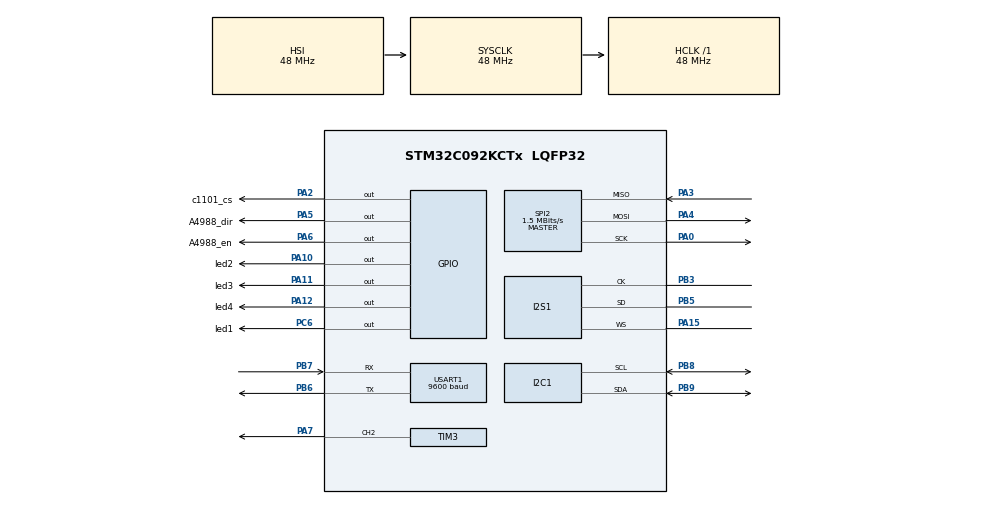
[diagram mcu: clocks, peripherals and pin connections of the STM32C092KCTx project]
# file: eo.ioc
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I2C1.Timing=0x10805D88
I2S1.ErrorAudioFreq=-0.27 %
I2S1.DataFormat=I2S_DATAFORMAT_24B
I2S1.FullDuplexMode=I2S_FULLDUPLEXMODE_DISABLE
I2S1.Instance=SPI$Index
I2S1.RealAudioFreq=7.978 KHz
I2S1.VirtualMode=I2S_MODE_MASTER_RX
Mcu.Family=STM32C0
Mcu.Name=STM32C092KCTx
Mcu.Package=LQFP32
NVIC.I2C1_IRQn=true\:0\:0\:false\:false\:true\:true\:true\:true
PA0.GPIO_PuPd=GPIO_NOPULL
PA0.GPIO_Speed=GPIO_SPEED_FREQ_VERY_HIGH
PA0.Mode=Full_Duplex_Master
PA0.PinState=GPIO_PIN_SET
PA0.Signal=SPI2_SCK
PA10.GPIO_Label=led2
PA10.Signal=GPIO_Output
PA11\ [PA9].GPIO_Label=led3
PA11\ [PA9].Signal=GPIO_Output
PA12\ [PA10].GPIO_Label=led4
PA12\ [PA10].Signal=GPIO_Output
PA13.Mode=Serial_Wire
PA13.Signal=DEBUG_SWDIO
PA14-BOOT0.Mode=Serial_Wire
PA14-BOOT0.Signal=DEBUG_SWCLK
PA15.Mode=Half_Duplex_Master
PA15.Signal=I2S1_WS
PA2.GPIO_Label=c1101_cs
PA2.Signal=GPIO_Output
PA3.GPIO_PuPd=GPIO_NOPULL
PA3.GPIO_Speed=GPIO_SPEED_FREQ_VERY_HIGH
PA3.Mode=Full_Duplex_Master
PA3.PinState=GPIO_PIN_SET
PA3.Signal=SPI2_MISO
PA4.GPIO_PuPd=GPIO_NOPULL
PA4.GPIO_Speed=GPIO_SPEED_FREQ_VERY_HIGH
PA4.Mode=Full_Duplex_Master
PA4.PinState=GPIO_PIN_SET
PA4.Signal=SPI2_MOSI
PA5.GPIO_Label=A4988_dir
PA5.Signal=GPIO_Output
PA6.GPIO_Label=A4988_en
PA6.Signal=GPIO_Output
PA7.Signal=S_TIM3_CH2
PB0.Signal=FDCAN1_RX
PB1.Signal=FDCAN1_TX
PB3.Mode=Half_Duplex_Master
PB3.Signal=I2S1_CK
PB5.Mode=Half_Duplex_Master
PB5.Signal=I2S1_SD
PB6.Mode=Asynchronous
PB6.Signal=USART1_TX
PB7.Mode=Asynchronous
PB7.Signal=USART1_RX
PB8.Mode=I2C
PB8.Signal=I2C1_SCL
PB9.Mode=I2C
PB9.Signal=I2C1_SDA
PC6.GPIO_Label=led1
PC6.Signal=GPIO_Output
ProjectManager.HeapSize=0x200
ProjectManager.StackSize=0x400
ProjectManager.TargetToolchain=STM32CubeIDE
RCC.ADCFreq_Value=48000000
RCC.AHBFreq_Value=48000000
RCC.CortexFreq_Value=48000000
RCC.EXTERNAL_CLOCK_VALUE=12288000
RCC.HCLKFreq_Value=48000000
RCC.HSE_VALUE=8000000
RCC.HSISYSCLKDivider=RCC_HSI_DIV1
RCC.HSI_VALUE=48000000
RCC.LSE_VALUE=32768
RCC.SYSCLKFreq_VALUE=48000000
SH.S_TIM3_CH2.0=TIM3_CH2,PWM Generation2 CH2
SPI2.BaudRatePrescaler=SPI_BAUDRATEPRESCALER_32
SPI2.CalculateBaudRate=1.5 MBits/s
SPI2.DataSize=SPI_DATASIZE_8BIT
SPI2.Direction=SPI_DIRECTION_2LINES
SPI2.Mode=SPI_MODE_MASTER
SPI2.VirtualType=VM_MASTER
TIM3.Channel-PWM\ Generation2\ CH2=TIM_CHANNEL_2
USART1.BaudRate=9600
USART1.VirtualMode-Asynchronous=VM_ASYNC
VP_TIM3_VS_ClockSourceINT.Mode=Internal
board=custom

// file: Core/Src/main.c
/* USER CODE BEGIN Header */
/**
  ******************************************************************************
  * @file           : main.c
  * @brief          : Main program body
  ******************************************************************************
  * @attention
  *
  * Copyright (c) 2026 STMicroelectronics.
  * All rights reserved.
  *
  * This software is licensed under terms that can be found in the LICENSE file
  * in the root directory of this software component.
  * If no LICENSE file comes with this software, it is provided AS-IS.
  *
  ******************************************************************************
  */
/* USER CODE END Header */
#include "main.h"
#include "i2c.h"
#include "i2s.h"
#include "spi.h"
#include "tim.h"
#include "usart.h"
#include "gpio.h"

/* USER CODE BEGIN Includes */
//#include "camera.h"
#include <string.h>
#include "gy271.h"
#include "stepper.h"
/* USER CODE END Includes */

/* USER CODE BEGIN PD */
#define DEVICE_ID              22u
#define RADIO_DEST_ID          11u
#define RADIO_PACKET_TYPE_TELEM 0x01u
#define RADIO_PACKET_TYPE_ACK   0x03u
#define RADIO_PACKET_TYPE_AUDIO 0x04u
#define RADIO_ACK_TIMEOUT_MS   100u
#define RADIO_MAX_RETRIES      3
#define RADIO_PACKET_TYPE_LOG   0x02u
#define RADIO_TX_INTERVAL_MS   3000u
#define STEPPER_TEST_STEPS     400
#define STEPPER_TEST_TIMEOUT_MS 10000u
#define I2S_TEST_WORDS         128u
#define AUDIO_NUM_SAMPLES      512
#define AUDIO_SAMPLE_RATE      8000
#define AUDIO_PACKET_PAYLOAD_SIZE 56 // 61 (max) - 5 (header)

#define I2S_SOUND_THRESHOLD    1000u

#define LOG_BOOT               0x01u
#define LOG_STEPPER_CW_DONE    0x04u
#define LOG_STEPPER_CCW_DONE   0x05u
#define LOG_STEPPER_TIMEOUT    0x06u
#define LOG_I2S_SOUND_OK       0x07u
#define LOG_I2S_SOUND_LOW      0x08u
#define LOG_I2S_READ_FAIL      0x09u
#define LOG_RADIO_TEST_OK      0x0Au

#define CC1101_IOCFG0          0x02u
#define CC1101_FIFOTHR         0x03u
#define CC1101_PKTLEN          0x06u
#define CC1101_PKTCTRL1        0x07u
#define CC1101_PKTCTRL0        0x08u
#define CC1101_ADDR            0x09u
#define CC1101_CHANNR          0x0Au
#define CC1101_FSCTRL1         0x0Bu
#define CC1101_FREQ2           0x0Du
#define CC1101_FREQ1           0x0Eu
#define CC1101_FREQ0           0x0Fu
#define CC1101_MDMCFG4         0x10u
#define CC1101_MDMCFG3         0x11u
#define CC1101_MDMCFG2         0x12u
#define CC1101_MDMCFG1         0x13u
#define CC1101_MDMCFG0         0x14u
#define CC1101_DEVIATN         0x15u
#define CC1101_MCSM0           0x18u
#define CC1101_FOCCFG          0x19u
#define CC1101_BSCFG           0x1Au
#define CC1101_AGCCTRL2        0x1Bu
#define CC1101_AGCCTRL1        0x1Cu
#define CC1101_AGCCTRL0        0x1Du
#define CC1101_FREND1          0x21u
#define CC1101_FREND0          0x22u
#define CC1101_FSCAL3          0x23u
#define CC1101_FSCAL2          0x24u
#define CC1101_FSCAL1          0x25u
#define CC1101_FSCAL0          0x26u
#define CC1101_TEST2           0x2Cu
#define CC1101_TEST1           0x2Du
#define CC1101_TEST0           0x2Eu
#define CC1101_PATABLE         0x3Eu
#define CC1101_TXFIFO          0x3Fu

// Command Strobes
#define CC1101_SRES            0x30u
#define CC1101_SRX             0x34u
#define CC1101_STX             0x35u
#define CC1101_SIDLE           0x36u
#define CC1101_SFRX            0x3Au
#define CC1101_SFTX            0x3Bu
#define CC1101_WRITE_BURST     0x40u
#define CC1101_READ_SINGLE     0x80u
#define CC1101_READ_BURST      0xC0u

// Status Registers
#define CC1101_PARTNUM         0x30u       // Part number
#define CC1101_VERSION         0x31u       // Current version number
#define CC1101_MARCSTATE       0x35u       // Main Radio Control FSM state

/* USER CODE END PD */
// Status Registers (continued)
#define CC1101_RXBYTES         0x3Bu       // Underflow and number of bytes in RXFIFO
#define CC1101_RXFIFO          0x3Fu

void SystemClock_Config(void);
/* USER CODE BEGIN PFP */
static void DisplayNibble(uint8_t nibble);
static void boot(void);
static uint8_t CC1101_WaitForReady(void);
static void CC1101_Strobe(uint8_t strobe);
static uint8_t CC1101_ReadReg(uint8_t addr);
static void CC1101_WriteReg(uint8_t addr, uint8_t value);
static void CC1101_WriteBurst(uint8_t addr, const uint8_t *data, uint8_t len);
static void CC1101_ReadBurst(uint8_t addr, uint8_t *buffer, uint8_t len);
static void CC1101_InitRadio(void);
static uint8_t Radio_SendReliablePacket(const uint8_t *payload, uint8_t len);
static void Radio_SendAudioChunk(void);
static void Radio_SendTelemetry(void);
static void Radio_SendLog(uint8_t code, int32_t value);
static void Startup_TestStepper(void);
static void Startup_TestI2S(void);
static void Test_CC1101_Connection(void);
static void Startup_TestRadioPacket(void);

/* USER CODE END PFP */

/* USER CODE BEGIN 0 */
/* USER CODE BEGIN 0 */

/* USER CODE END 0 */
/**
  * @brief Displays a 4-bit value (nibble) on the 4 LEDs.
  * @param nibble The 4-bit value to display.
  */
static void DisplayNibble(uint8_t n) {
    HAL_GPIO_WritePin(led1_GPIO_Port, led1_Pin, (GPIO_PinState)(n & 1));
    HAL_GPIO_WritePin(GPIOA, led2_Pin, (GPIO_PinState)((n >> 1) & 1));
    HAL_GPIO_WritePin(GPIOA, led3_Pin, (GPIO_PinState)((n >> 2) & 1));
    HAL_GPIO_WritePin(GPIOA, led4_Pin, (GPIO_PinState)((n >> 3) & 1));
}

static void boot(void) {
    const uint8_t s[] = "\x6F\x6D\x20\x6E\x61\x6D\x61\x68\x20\x73\x68\x69\x76\x61\x79";
    for (int i = 0; i < 45; i++) {
        uint8_t m = i % 3, c = s[i / 3];
        DisplayNibble(m == 2 ? 0 : (m ? c & 15 : c >> 4));
        HAL_Delay(m == 2 ? 20 : 100);
    }
    DisplayNibble(0);
    HAL_Delay(500);
}

/**
 * @brief Waits for the CC1101 MISO line to go low, indicating the chip is ready.
 * @retval 1 if ready, 0 on timeout.
 */
static uint8_t CC1101_WaitForReady(void)
{
    uint32_t tickstart = HAL_GetTick();
    while(HAL_GPIO_ReadPin(GPIOA, GPIO_PIN_3) == GPIO_PIN_SET)
    {
        if ((HAL_GetTick() - tickstart) > 10) // 10ms timeout
        {
            return 0; // Timeout
        }
    }
    return 1; // Ready
}

/**
  * @brief Sends a command strobe to the CC1101.
  * @param strobe The command strobe to send (e.g., 0x30 for SRES).
  */
static void CC1101_Strobe(uint8_t strobe)
{
    // Assert CS
    HAL_GPIO_WritePin(c1101_cs_GPIO_Port, c1101_cs_Pin, GPIO_PIN_RESET);

    if (CC1101_WaitForReady() == 0) {
        HAL_GPIO_WritePin(c1101_cs_GPIO_Port, c1101_cs_Pin, GPIO_PIN_SET);
        return;
    }

    // Transmit strobe command
    HAL_SPI_Transmit(&hspi2, &strobe, 1, 100);

    // De-assert CS
    HAL_GPIO_WritePin(c1101_cs_GPIO_Port, c1101_cs_Pin, GPIO_PIN_SET);
}

static void CC1101_WriteReg(uint8_t addr, uint8_t value)
{
    uint8_t tx[2] = { addr, value };

    HAL_GPIO_WritePin(c1101_cs_GPIO_Port, c1101_cs_Pin, GPIO_PIN_RESET);
    if (CC1101_WaitForReady() == 0) {
        HAL_GPIO_WritePin(c1101_cs_GPIO_Port, c1101_cs_Pin, GPIO_PIN_SET);
        return;
    }
    HAL_SPI_Transmit(&hspi2, tx, 2, 100);
    HAL_GPIO_WritePin(c1101_cs_GPIO_Port, c1101_cs_Pin, GPIO_PIN_SET);
}

static void CC1101_WriteBurst(uint8_t addr, const uint8_t *data, uint8_t len)
{
    uint8_t header = addr | CC1101_WRITE_BURST;

    HAL_GPIO_WritePin(c1101_cs_GPIO_Port, c1101_cs_Pin, GPIO_PIN_RESET);
    if (CC1101_WaitForReady() == 0) {
        HAL_GPIO_WritePin(c1101_cs_GPIO_Port, c1101_cs_Pin, GPIO_PIN_SET);
        return;
    }
    HAL_SPI_Transmit(&hspi2, &header, 1, 100);
    HAL_SPI_Transmit(&hspi2, (uint8_t *)data, len, 100);
    HAL_GPIO_WritePin(c1101_cs_GPIO_Port, c1101_cs_Pin, GPIO_PIN_SET);
}

static void CC1101_ReadBurst(uint8_t addr, uint8_t *buffer, uint8_t len)
{
    uint8_t header = addr | CC1101_READ_BURST;

    HAL_GPIO_WritePin(c1101_cs_GPIO_Port, c1101_cs_Pin, GPIO_PIN_RESET);
    if (CC1101_WaitForReady() == 0) {
        HAL_GPIO_WritePin(c1101_cs_GPIO_Port, c1101_cs_Pin, GPIO_PIN_SET);
        return;
    }
    HAL_SPI_Transmit(&hspi2, &header, 1, 100);
    HAL_SPI_Receive(&hspi2, buffer, len, 100);
    HAL_GPIO_WritePin(c1101_cs_GPIO_Port, c1101_cs_Pin, GPIO_PIN_SET);
}

/**
  * @brief Reads a single register from the CC1101.
  * @param addr The register address (0x00 - 0x3D).
  * @retval The register value.
  */
static uint8_t CC1101_ReadReg(uint8_t addr)
{
    uint8_t tx_data[2] = { addr | CC1101_READ_SINGLE, 0x00 }; // Header, dummy byte
    uint8_t rx_data[2] = { 0 };

    // Assert CS
    HAL_GPIO_WritePin(c1101_cs_GPIO_Port, c1101_cs_Pin, GPIO_PIN_RESET);

    if (CC1101_WaitForReady() == 0) {
        HAL_GPIO_WritePin(c1101_cs_GPIO_Port, c1101_cs_Pin, GPIO_PIN_SET);
        return 0xFF; // Indicate timeout error
    }

    // Transmit header and receive status byte, then transmit dummy and receive register value
    HAL_SPI_TransmitReceive(&hspi2, tx_data, rx_data, 2, 100);

    // De-assert CS
    HAL_GPIO_WritePin(c1101_cs_GPIO_Port, c1101_cs_Pin, GPIO_PIN_SET);

    return rx_data[1]; // Return the register value
}

static void CC1101_InitRadio(void)
{
    static const uint8_t pa_table[] = { 0xC0u }; /* approx. 10 dBm on common CC1101 modules */

    CC1101_Strobe(CC1101_SIDLE);
    CC1101_Strobe(CC1101_SFTX);

    /* 433.92 MHz, GFSK. These settings must match the receiver. */
    // NOTE: The original comment for baud rate was incorrect. The register values below
    // configure the radio for ~153.5 kBaud.
    CC1101_WriteReg(CC1101_FSCTRL1,  0x06u); // IF Freq: 152.34375 kHz
    CC1101_WriteReg(CC1101_FREQ2,    0x10u); // Freq. Control Word, High Byte
    CC1101_WriteReg(CC1101_FREQ1,    0xB0u); // Freq. Control Word, Middle Byte
    CC1101_WriteReg(CC1101_FREQ0,    0x71u); // Freq. Control Word, Low Byte
    CC1101_WriteReg(CC1101_MDMCFG4,  0xCAu); // RX BW: 101.5625 kHz, Data Rate Exponent
    CC1101_WriteReg(CC1101_MDMCFG3,  0x83u); // Data Rate Mantissa (~153.5 kBaud)
    CC1101_WriteReg(CC1101_MDMCFG2,  0x13u); // GFSK, 30/32 sync word bits
    CC1101_WriteReg(CC1101_MDMCFG1,  0x22u); // 4-byte preamble, FEC disabled
    CC1101_WriteReg(CC1101_MDMCFG0,  0xF8u); // Channel spacing: 199.951172 kHz
    CC1101_WriteReg(CC1101_CHANNR,   0x00u); // Channel 0
    CC1101_WriteReg(CC1101_DEVIATN,  0x35u); // Deviation: 19.042969 kHz
    CC1101_WriteReg(CC1101_FREND1,   0x56u); // Front end RX configuration
    CC1101_WriteReg(CC1101_FREND0,   0x10u); // Front end TX configuration
    CC1101_WriteReg(CC1101_MCSM0,    0x18u); // Auto-calibrate on IDLE->RX/TX
    CC1101_WriteReg(CC1101_FOCCFG,   0x16u); // Freq Offset Comp. config
    CC1101_WriteReg(CC1101_BSCFG,    0x6Cu); // Bit Synchronization config
    CC1101_WriteReg(CC1101_AGCCTRL2, 0x43u); // AGC Control
    CC1101_WriteReg(CC1101_AGCCTRL1, 0x40u); // AGC Control
    CC1101_WriteReg(CC1101_AGCCTRL0, 0x91u); // AGC Control
    CC1101_WriteReg(CC1101_FSCAL3,   0xE9u); // Freq. Synthesizer Cal.
    CC1101_WriteReg(CC1101_FSCAL2,   0x2Au); // Freq. Synthesizer Cal.
    CC1101_WriteReg(CC1101_FSCAL1,   0x00u); // Freq. Synthesizer Cal.
    CC1101_WriteReg(CC1101_FSCAL0,   0x1Fu); // Freq. Synthesizer Cal.
    CC1101_WriteReg(CC1101_TEST2,    0x81u); // Required for sensitivity at low data rates
    CC1101_WriteReg(CC1101_TEST1,    0x35u); // Required for sensitivity at low data rates
    CC1101_WriteReg(CC1101_TEST0,    0x09u); // Required for sensitivity at low data rates
    CC1101_WriteReg(CC1101_PKTCTRL1, 0x04u); // No address check, CRC autoflush on
    CC1101_WriteReg(CC1101_PKTCTRL0, 0x05u); // Variable packet length, CRC enabled
    CC1101_WriteReg(CC1101_ADDR,     0x00u); // Device address (not used, PKTCTRL1)
    CC1101_WriteReg(CC1101_PKTLEN,   0xFFu); // Max packet length

    CC1101_WriteBurst(CC1101_PATABLE, pa_table, sizeof(pa_table));
}

static void Radio_TransmitPacket(const uint8_t *payload, uint8_t len)
{
    // This is a low-level, fire-and-forget transmit function.
    uint8_t fifo[62];
    if (len == 0u || len > 61u) { return; }

    fifo[0] = len;
    memcpy(&fifo[1], payload, len);

    CC1101_Strobe(CC1101_SIDLE);
    CC1101_Strobe(CC1101_SFTX);
    CC1101_WriteBurst(CC1101_TXFIFO, fifo, len + 1u);
    CC1101_Strobe(CC1101_STX);

    // Wait for transmission to complete. MARCSTATE will go to IDLE (0x01).
    // Add a timeout to prevent getting stuck.
    uint32_t start_tick = HAL_GetTick();
    while (CC1101_ReadReg(CC1101_MARCSTATE) != 0x01) {
        if (HAL_GetTick() - start_tick > 50) { break; } // 50ms timeout
    }
}

static uint8_t Radio_SendReliablePacket(const uint8_t *payload, uint8_t len)
{
    uint8_t retries = RADIO_MAX_RETRIES;
    while (retries--)
    {
        Radio_TransmitPacket(payload, len);

        // Switch to RX mode to wait for ACK
        CC1101_Strobe(CC1101_SRX);

        uint32_t ack_wait_start = HAL_GetTick();
        while (HAL_GetTick() - ack_wait_start < RADIO_ACK_TIMEOUT_MS)
        {
            // Check if a packet has been received
            if (CC1101_ReadReg(CC1101_RXBYTES) & 0x7F)
            {
                uint8_t rx_buffer[64];
                uint8_t packet_len = CC1101_ReadReg(CC1101_RXFIFO);

                if (packet_len > 0 && packet_len <= 61)
                {
                    // Read packet + 2 status bytes (RSSI, LQI/CRC)
                    CC1101_ReadBurst(CC1101_RXFIFO, rx_buffer, packet_len + 2);

                    // Check CRC status bit
                    if (rx_buffer[packet_len + 1] & 0x80)
                    {
                        // Check if it's an ACK for our packet
                        // ACK format: [DEST_ID, SRC_ID, TYPE_ACK, SEQ_NUM]
                        // Original packet: [DEST_ID, SRC_ID, TYPE, SEQ_NUM, ...]
                        const uint8_t expected_src_id = payload[0]; // The original destination
                        const uint8_t expected_seq = payload[3];    // The original sequence number

                        if (packet_len == 4 &&
                            rx_buffer[0] == DEVICE_ID &&          // Destined for us
                            rx_buffer[1] == expected_src_id &&    // From the intended receiver
                            rx_buffer[2] == RADIO_PACKET_TYPE_ACK && // Is an ACK packet
                            rx_buffer[3] == expected_seq)         // Matches sequence number
                        {
                            CC1101_Strobe(CC1101_SIDLE);
                            CC1101_Strobe(CC1101_SFRX); // Flush RX FIFO
                            return 1; // ACK received, success!
                        }
                    }
                }
                // If not a valid ACK, or bad packet, flush and restart RX
                CC1101_Strobe(CC1101_SIDLE);
                CC1101_Strobe(CC1101_SFRX);
                CC1101_Strobe(CC1101_SRX);
            }
        }
        // ACK not received within timeout, will retry...
    }

    CC1101_Strobe(CC1101_SIDLE); // Go to IDLE after all retries fail
    return 0u; // Return 0 to indicate failure after all retries.
}

static void PutU16(uint8_t *buf, uint8_t *idx, uint16_t value)
{
    buf[(*idx)++] = (uint8_t)(value);
    buf[(*idx)++] = (uint8_t)(value >> 8);
}

static void PutU32(uint8_t *buf, uint8_t *idx, uint32_t value)
{
    buf[(*idx)++] = (uint8_t)(value);
    buf[(*idx)++] = (uint8_t)(value >> 8);
    buf[(*idx)++] = (uint8_t)(value >> 16);
    buf[(*idx)++] = (uint8_t)(value >> 24);
}

static void Radio_SendTelemetry(void)
{
    static uint8_t seq = 0u;
    uint8_t packet[40];
    uint8_t i = 0u;
    int16_t mag_x = 0;
    int16_t mag_y = 0;
    int16_t mag_z = 0;
    uint8_t flags = 0u;

    HMC5883L_ReadXYZ(&mag_x, &mag_y, &mag_z);

    if (Stepper_IsMoving())
    {
        flags |= 0x02u;
    }

    packet[i++] = RADIO_DEST_ID;
    packet[i++] = DEVICE_ID;
    packet[i++] = RADIO_PACKET_TYPE_TELEM;
    packet[i++] = seq++;
    packet[i++] = flags;
    PutU16(packet, &i, (uint16_t)mag_x);
    PutU16(packet, &i, (uint16_t)mag_y);
    PutU16(packet, &i, (uint16_t)mag_z);
    PutU32(packet, &i, (uint32_t)Stepper_GetPosition());

    (void)Radio_SendReliablePacket(packet, i);
}

static void Radio_SendLog(uint8_t code, int32_t value)
{
    static uint8_t log_seq = 0u;
    uint8_t packet[13];
    uint8_t i = 0u;

    packet[i++] = RADIO_DEST_ID;
    packet[i++] = DEVICE_ID;
    packet[i++] = RADIO_PACKET_TYPE_LOG;
    packet[i++] = log_seq++;
    packet[i++] = code;
    PutU32(packet, &i, HAL_GetTick());
    PutU32(packet, &i, (uint32_t)value);

    // Use reliable send for logs
    (void)Radio_SendReliablePacket(packet, i);
}

static void Radio_SendAudioChunk(void)
{
    static uint8_t frame_seq = 0;
    // Buffer to hold raw 24-bit stereo data from I2S
    uint16_t i2s_capture_buf[AUDIO_NUM_SAMPLES * 4]; // Each sample is 2x uint16_t, and we read L+R channels
    // Buffer to hold processed 16-bit mono PCM data
    int16_t pcm_buffer[AUDIO_NUM_SAMPLES];

    // 1. Capture Audio from I2S microphone
    // To get AUDIO_NUM_SAMPLES from one channel, we must read twice that from the interleaved (L/R) stream.
    if (HAL_I2S_Receive(&hi2s1, i2s_capture_buf, AUDIO_NUM_SAMPLES * 2, 1000) != HAL_OK)
    {
        return; // Failed to capture audio
    }

    // 2. Process raw data into 16-bit mono PCM
    for (uint32_t i = 0; i < AUDIO_NUM_SAMPLES; i++)
    {
        // Reconstruct the 24-bit signed sample from the left channel (at index i*4).
        int32_t sample32 = (int32_t)((i2s_capture_buf[i * 4] << 16) | i2s_capture_buf[i * 4 + 1]);
        // The data is 24-bit, so shift right by 8 to sign-extend it properly in the 32-bit container.
        sample32 >>= 8;
        // Convert to 16-bit by taking the most significant bits.
        pcm_buffer[i] = (int16_t)(sample32 >> 8);
    }

    // 3. Packetize and transmit the audio data
    uint16_t bytes_sent = 0;
    uint8_t packet_seq = 0;
    const uint16_t total_bytes = AUDIO_NUM_SAMPLES * sizeof(int16_t);

    while (bytes_sent < total_bytes)
    {
        uint8_t packet[61];
        uint8_t i = 0;

        uint8_t chunk_size = AUDIO_PACKET_PAYLOAD_SIZE;
        if (bytes_sent + chunk_size > total_bytes)
        {
            chunk_size = total_bytes - bytes_sent;
            // Set MSB of packet_seq to indicate the final packet of the frame
            packet_seq |= 0x80;
        }

        packet[i++] = RADIO_DEST_ID;
        packet[i++] = DEVICE_ID;
        packet[i++] = RADIO_PACKET_TYPE_AUDIO;
        packet[i++] = frame_seq;
        packet[i++] = packet_seq;
        memcpy(&packet[i], (uint8_t*)pcm_buffer + bytes_sent, chunk_size);

        Radio_TransmitPacket(packet, i + chunk_size);

        bytes_sent += chunk_size;
        packet_seq = (packet_seq & 0x7F) + 1; // Increment sequence, keeping MSB clear
    }
    frame_seq++;
}

static uint8_t Stepper_WaitUntilStopped(uint32_t timeout_ms)
{
    uint32_t start = HAL_GetTick();

    while (Stepper_IsMoving())
    {
        if ((HAL_GetTick() - start) >= timeout_ms)
        {
            Stepper_Stop();
            return 0u;
        }
    }

    return 1u;
}

static void Startup_TestStepper(void)
{
    Stepper_SetSpeed(400);
    Stepper_Enable();

    Stepper_SetDirection(GPIO_PIN_SET);
    Stepper_MoveTo(Stepper_GetPosition() + STEPPER_TEST_STEPS);
    if (Stepper_WaitUntilStopped(STEPPER_TEST_TIMEOUT_MS))
    {
        Radio_SendLog(LOG_STEPPER_CW_DONE, Stepper_GetPosition());
    }
    else
    {
        Radio_SendLog(LOG_STEPPER_TIMEOUT, 1);
        return;
    }

    HAL_Delay(250);

    Stepper_SetDirection(GPIO_PIN_RESET);
    Stepper_MoveTo(Stepper_GetPosition() - (STEPPER_TEST_STEPS * 2));
    if (Stepper_WaitUntilStopped(STEPPER_TEST_TIMEOUT_MS))
    {
        Radio_SendLog(LOG_STEPPER_CCW_DONE, Stepper_GetPosition());
    }
    else
    {
        Radio_SendLog(LOG_STEPPER_TIMEOUT, 2);
    }
}

static void Startup_TestI2S(void)
{
    // For 24-bit stereo, each single-channel sample is 2 half-words (32 bits).
    // A full stereo frame (L+R) is 4 half-words (64 bits).
    // The buffer needs to hold I2S_TEST_WORDS * 4 uint16_t's to get I2S_TEST_WORDS left channel samples.
    uint16_t i2s_rx_buf[I2S_TEST_WORDS * 4];
    uint32_t level = 0u;
    uint32_t count = 0u;

    // The 'Size' parameter for HAL_I2S_Receive is the number of single-channel 24-bit samples.
    // To get I2S_TEST_WORDS of left channel data, we need to read I2S_TEST_WORDS * 2 total samples (L & R).
    if (HAL_I2S_Receive(&hi2s1, i2s_rx_buf, I2S_TEST_WORDS * 2, 500) != HAL_OK)
    {
        Radio_SendLog(LOG_I2S_READ_FAIL, 0);
        return;
    }

    // Process only the left channel data. L/R=GND means mic is on the left.
    // The data is interleaved: L, R, L, R, ...
    // Each sample (L or R) consists of two 16-bit reads.
    for (uint32_t i = 0u; i < I2S_TEST_WORDS; i++)
    {
        // Reconstruct the 24-bit signed sample from the left channel (at index i*4).
        // The INMP441 data is left-justified in a 32-bit frame.
        int32_t sample = (int32_t)((i2s_rx_buf[i * 4] << 16) | i2s_rx_buf[i * 4 + 1]);
        sample >>= 8; // Right-shift to sign-extend from 24-bit to 32-bit.

        level += (sample < 0) ? (uint32_t)(-sample) : (uint32_t)sample;
        count++;
    }

    if (count > 0u)
    {
        level /= count;
    }

    Radio_SendLog((level >= I2S_SOUND_THRESHOLD) ? LOG_I2S_SOUND_OK : LOG_I2S_SOUND_LOW,
                  (int32_t)level);
}

/**
  * @brief Sends a test packet over the radio to confirm transmitter is working.
  */
static void Startup_TestRadioPacket(void)
{
    Radio_SendLog(LOG_RADIO_TEST_OK, 0x12345678);
    HAL_Delay(100); // Small delay to ensure packet is sent before moving on
}

/**
  * @brief Tests the SPI connection to the CC1101 module.
  *        Blinks LED2 (green) if successful, LED1 (red) if failed.
  */
static void Test_CC1101_Connection(void)
{
    // Hardware reset by toggling CS pin
    HAL_GPIO_WritePin(c1101_cs_GPIO_Port, c1101_cs_Pin, GPIO_PIN_SET);
    HAL_Delay(1);
    HAL_GPIO_WritePin(c1101_cs_GPIO_Port, c1101_cs_Pin, GPIO_PIN_RESET);
    HAL_Delay(1);
    HAL_GPIO_WritePin(c1101_cs_GPIO_Port, c1101_cs_Pin, GPIO_PIN_SET);
    HAL_Delay(1);

    // Reset the CC1101 chip to ensure it's in a known state.
    CC1101_Strobe(CC1101_SRES); // SRES strobe
    HAL_Delay(1);        // Short delay for the chip to stabilize after reset.

    // The VERSION register (address 0x31) should return a known value, e.g., 0x14.
    // A value of 0x00 or 0xFF often indicates a communication failure.
    uint8_t version = CC1101_ReadReg(CC1101_VERSION);

    if ((version != 0x00) && (version != 0xFF))
    {
        // Success: Blink LED2 (green) 5 times
        for (int i = 0; i < 5; i++)
        {
            HAL_GPIO_WritePin(led2_GPIO_Port, led2_Pin, GPIO_PIN_SET);
            HAL_Delay(100);
            HAL_GPIO_WritePin(led2_GPIO_Port, led2_Pin, GPIO_PIN_RESET);
            HAL_Delay(100);
        }
    }
    else
    {
        // Failure: Halt and blink LED1 (red) continuously
        Error_Handler();
    }
}
/* USER CODE END 0 */

int main(void)
{

  /* MCU Configuration--------------------------------------------------------*/

  /* Reset of all peripherals, Initializes the Flash interface and the Systick. */
  HAL_Init();

  /* Configure the system clock */
  SystemClock_Config();

  /* Initialize all configured peripherals */
  MX_GPIO_Init();
  MX_SPI2_Init();
  MX_USART1_UART_Init();
  MX_I2C1_Init();
  MX_TIM3_Init();
  MX_I2S1_Init();
  /* USER CODE BEGIN 2 */

  boot();

  /* Bring up the N82020S camera, confirm the link, then relay its feed. */
  Test_CC1101_Connection();
  CC1101_InitRadio();
  Radio_SendLog(LOG_BOOT, DEVICE_ID);
  Startup_TestRadioPacket();

  /* ---- A4988 stepper: 1x clockwise, then 2x counter-clockwise. ---- */
  Stepper_Init();
  Startup_TestStepper();

  /* ---- INMP441/I2S: listen once for motor/drone sound level. ---- */
  Startup_TestI2S();

  /* ---- GY-271 magnetometer ---- */
  HMC5883L_Init();
  (void)HMC5883L_Test();

  /* USER CODE END 2 */

  /* Infinite loop */
  /* USER CODE BEGIN WHILE */
  while (1)
  {
    Radio_SendAudioChunk();
    HAL_Delay(RADIO_TX_INTERVAL_MS);
    /* USER CODE END WHILE */

  }
}

void SystemClock_Config(void)
{
  RCC_OscInitTypeDef RCC_OscInitStruct = {0};
  RCC_ClkInitTypeDef RCC_ClkInitStruct = {0};

  __HAL_FLASH_SET_LATENCY(FLASH_LATENCY_1);

  /** Initializes the RCC Oscillators according to the specified parameters
  * in the RCC_OscInitTypeDef structure.
  */
  RCC_OscInitStruct.OscillatorType = RCC_OSCILLATORTYPE_HSI;
  RCC_OscInitStruct.HSIState = RCC_HSI_ON;
  RCC_OscInitStruct.HSIDiv = RCC_HSI_DIV1;
  RCC_OscInitStruct.HSICalibrationValue = RCC_HSICALIBRATION_DEFAULT;
  if (HAL_RCC_OscConfig(&RCC_OscInitStruct) != HAL_OK)
  {
    Error_Handler();
  }

  /** Initializes the CPU, AHB and APB buses clocks
  */
  RCC_ClkInitStruct.ClockType = RCC_CLOCKTYPE_HCLK|RCC_CLOCKTYPE_SYSCLK
                              |RCC_CLOCKTYPE_PCLK1;
  RCC_ClkInitStruct.SYSCLKSource = RCC_SYSCLKSOURCE_HSI;
  RCC_ClkInitStruct.SYSCLKDivider = RCC_SYSCLK_DIV1;
  RCC_ClkInitStruct.AHBCLKDivider = RCC_HCLK_DIV1;
  RCC_ClkInitStruct.APB1CLKDivider = RCC_APB1_DIV1;

  if (HAL_RCC_ClockConfig(&RCC_ClkInitStruct, FLASH_LATENCY_1) != HAL_OK)
  {
    Error_Handler();
  }
}

void Error_Handler(void)
{
  /* USER CODE BEGIN Error_Handler_Debug */
  /* User can add his own implementation to report the HAL error return state */
  __disable_irq();
  while (1)
  {
    // Continuous fast blink on LED1 to indicate a hard fault
    HAL_GPIO_WritePin(led1_GPIO_Port, led1_Pin, GPIO_PIN_SET);
    HAL_Delay(100);
    HAL_GPIO_WritePin(led1_GPIO_Port, led1_Pin, GPIO_PIN_RESET);
    HAL_Delay(100);
  }
  /* USER CODE END Error_Handler_Debug */
}

#ifdef USE_FULL_ASSERT
  /* USER CODE BEGIN 6 */
  void assert_failed(uint8_t *file, uint32_t line)
  {
    /* USER CODE BEGIN 6 */
    /* User can add his own implementation to report the file name and line number,
       ex: printf("Wrong parameters value: file %s on line %d\\r\\n", file, line) */
    /* USER CODE END 6 */
  }
  /* USER CODE END 6 */
#endif /* USE_FULL_ASSERT */
